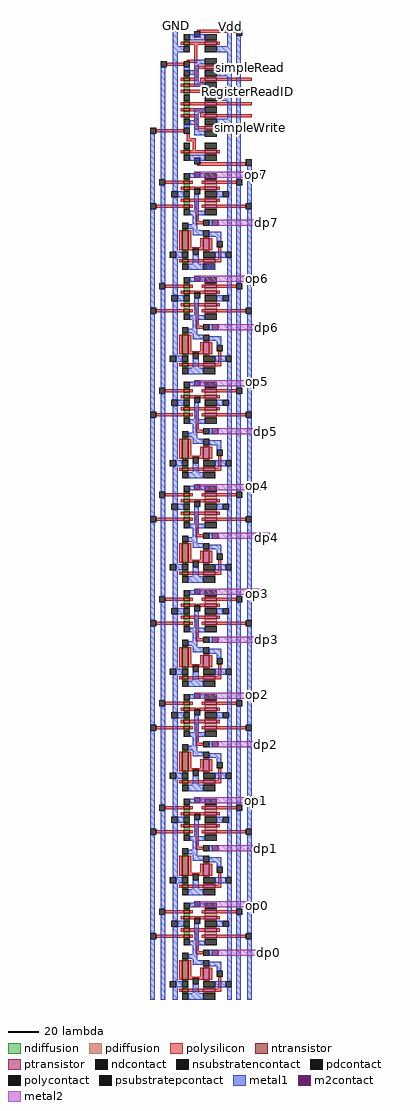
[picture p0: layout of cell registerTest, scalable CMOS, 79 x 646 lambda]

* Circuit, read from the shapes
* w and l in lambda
.subckt registerTest GND RegisterReadID RegisterWriteID Vdd dp0 dp1 dp2 dp3 dp4 dp5 dp6 dp7 op0 op1 op2 op3 op4 op5 op6 op7 phi0 phi1 simpleRead simpleWrite
M1 GND staticizer_6/in staticizer_6/inverter_0/out GND nfet w=4 l=2
M2 staticizer_6/in staticizer_6/inverter_0/out GND GND nfet w=4 l=13
M3 GND staticizer_5/in staticizer_5/inverter_0/out GND nfet w=4 l=2
M4 staticizer_5/in staticizer_5/inverter_0/out GND GND nfet w=4 l=13
M5 GND staticizer_4/in staticizer_4/inverter_0/out GND nfet w=4 l=2
M6 staticizer_4/in staticizer_4/inverter_0/out GND GND nfet w=4 l=13
M7 GND staticizer_3/in staticizer_3/inverter_0/out GND nfet w=4 l=2
M8 staticizer_3/in staticizer_3/inverter_0/out GND GND nfet w=4 l=13
M9 GND staticizer_2/in staticizer_2/inverter_0/out GND nfet w=4 l=2
M10 staticizer_2/in staticizer_2/inverter_0/out GND GND nfet w=4 l=13
M11 GND staticizer_1/in staticizer_1/inverter_0/out GND nfet w=4 l=2
M12 staticizer_1/in staticizer_1/inverter_0/out GND GND nfet w=4 l=13
M13 GND staticizer_0/in staticizer_0/inverter_0/out GND nfet w=4 l=2
M14 staticizer_0/in staticizer_0/inverter_0/out GND GND nfet w=4 l=13
M15 GND regbit_0_7/outlatch/in regbit_0_7/staticizer_0/inverter_0/out GND nfet w=4 l=2
M16 regbit_0_7/outlatch/in regbit_0_7/staticizer_0/inverter_0/out GND GND nfet w=4 l=13
M17 n1 regbit_0_0/w staticizer_6/in GND nfet w=4 l=2
M18 GND dp0 n1 GND nfet w=4 l=2
M19 n2 staticizer_6/in GND GND nfet w=4 l=2
M20 op0 regbit_0_0/r n2 GND nfet w=4 l=2
M21 n3 regbit_0_0/w staticizer_5/in GND nfet w=4 l=2
M22 GND dp1 n3 GND nfet w=4 l=2
M23 n4 staticizer_5/in GND GND nfet w=4 l=2
M24 op1 regbit_0_0/r n4 GND nfet w=4 l=2
M25 n5 regbit_0_0/w staticizer_4/in GND nfet w=4 l=2
M26 GND dp2 n5 GND nfet w=4 l=2
M27 n6 staticizer_4/in GND GND nfet w=4 l=2
M28 op2 regbit_0_0/r n6 GND nfet w=4 l=2
M29 n7 regbit_0_0/w staticizer_3/in GND nfet w=4 l=2
M30 GND dp3 n7 GND nfet w=4 l=2
M31 n8 staticizer_3/in GND GND nfet w=4 l=2
M32 op3 regbit_0_0/r n8 GND nfet w=4 l=2
M33 n9 regbit_0_0/w staticizer_2/in GND nfet w=4 l=2
M34 GND dp4 n9 GND nfet w=4 l=2
M35 n10 staticizer_2/in GND GND nfet w=4 l=2
M36 op4 regbit_0_0/r n10 GND nfet w=4 l=2
M37 n11 regbit_0_0/w staticizer_1/in GND nfet w=4 l=2
M38 GND dp5 n11 GND nfet w=4 l=2
M39 n12 staticizer_1/in GND GND nfet w=4 l=2
M40 op5 regbit_0_0/r n12 GND nfet w=4 l=2
M41 n13 regbit_0_0/w staticizer_0/in GND nfet w=4 l=2
M42 GND dp6 n13 GND nfet w=4 l=2
M43 n14 staticizer_0/in GND GND nfet w=4 l=2
M44 op6 regbit_0_0/r n14 GND nfet w=4 l=2
M45 n15 regbit_0_0/w regbit_0_7/outlatch/in GND nfet w=4 l=2
M46 GND dp7 n15 GND nfet w=4 l=2
M47 n16 regbit_0_7/outlatch/in GND GND nfet w=4 l=2
M48 op7 regbit_0_0/r n16 GND nfet w=4 l=2
M49 n17 regbit_0_0/w regbit_0_0/w_ GND nfet w=4 l=2
M50 n18 simpleWrite regbit_0_0/w GND nfet w=4 l=2
M51 n19 phi0 n18 GND nfet w=4 l=2
M52 n20 RegisterWriteID n19 GND nfet w=4 l=2
M53 n21 RegisterReadID n20 GND nfet w=4 l=2
M54 n22 phi1 n21 GND nfet w=4 l=2
M55 regbit_0_0/r simpleRead n22 GND nfet w=4 l=2
M56 regbit_0_0/r_ regbit_0_0/r GND GND nfet w=4 l=2
M57 Vdd staticizer_6/in staticizer_6/inverter_0/out Vdd pfet w=8 l=2
M58 staticizer_6/in staticizer_6/inverter_0/out Vdd Vdd pfet w=4 l=8
M59 Vdd staticizer_5/in staticizer_5/inverter_0/out Vdd pfet w=8 l=2
M60 staticizer_5/in staticizer_5/inverter_0/out Vdd Vdd pfet w=4 l=8
M61 Vdd staticizer_4/in staticizer_4/inverter_0/out Vdd pfet w=8 l=2
M62 staticizer_4/in staticizer_4/inverter_0/out Vdd Vdd pfet w=4 l=8
M63 Vdd staticizer_3/in staticizer_3/inverter_0/out Vdd pfet w=8 l=2
M64 staticizer_3/in staticizer_3/inverter_0/out Vdd Vdd pfet w=4 l=8
M65 Vdd staticizer_2/in staticizer_2/inverter_0/out Vdd pfet w=8 l=2
M66 staticizer_2/in staticizer_2/inverter_0/out Vdd Vdd pfet w=4 l=8
M67 Vdd staticizer_1/in staticizer_1/inverter_0/out Vdd pfet w=8 l=2
M68 staticizer_1/in staticizer_1/inverter_0/out Vdd Vdd pfet w=4 l=8
M69 Vdd staticizer_0/in staticizer_0/inverter_0/out Vdd pfet w=8 l=2
M70 staticizer_0/in staticizer_0/inverter_0/out Vdd Vdd pfet w=4 l=8
M71 Vdd regbit_0_7/outlatch/in regbit_0_7/staticizer_0/inverter_0/out Vdd pfet w=8 l=2
M72 regbit_0_7/outlatch/in regbit_0_7/staticizer_0/inverter_0/out Vdd Vdd pfet w=4 l=8
M73 n23 regbit_0_0/w_ staticizer_6/in Vdd pfet w=8 l=2
M74 Vdd dp0 n23 Vdd pfet w=8 l=2
M75 n24 staticizer_6/in Vdd Vdd pfet w=8 l=2
M76 op0 regbit_0_0/r_ n24 Vdd pfet w=8 l=2
M77 n25 regbit_0_0/w_ staticizer_5/in Vdd pfet w=8 l=2
M78 Vdd dp1 n25 Vdd pfet w=8 l=2
M79 n26 staticizer_5/in Vdd Vdd pfet w=8 l=2
M80 op1 regbit_0_0/r_ n26 Vdd pfet w=8 l=2
M81 n27 regbit_0_0/w_ staticizer_4/in Vdd pfet w=8 l=2
M82 Vdd dp2 n27 Vdd pfet w=8 l=2
M83 n28 staticizer_4/in Vdd Vdd pfet w=8 l=2
M84 op2 regbit_0_0/r_ n28 Vdd pfet w=8 l=2
M85 n29 regbit_0_0/w_ staticizer_3/in Vdd pfet w=8 l=2
M86 Vdd dp3 n29 Vdd pfet w=8 l=2
M87 n30 staticizer_3/in Vdd Vdd pfet w=8 l=2
M88 op3 regbit_0_0/r_ n30 Vdd pfet w=8 l=2
M89 n31 regbit_0_0/w_ staticizer_2/in Vdd pfet w=8 l=2
M90 Vdd dp4 n31 Vdd pfet w=8 l=2
M91 n32 staticizer_2/in Vdd Vdd pfet w=8 l=2
M92 op4 regbit_0_0/r_ n32 Vdd pfet w=8 l=2
M93 n33 regbit_0_0/w_ staticizer_1/in Vdd pfet w=8 l=2
M94 Vdd dp5 n33 Vdd pfet w=8 l=2
M95 n34 staticizer_1/in Vdd Vdd pfet w=8 l=2
M96 op5 regbit_0_0/r_ n34 Vdd pfet w=8 l=2
M97 n35 regbit_0_0/w_ staticizer_0/in Vdd pfet w=8 l=2
M98 Vdd dp6 n35 Vdd pfet w=8 l=2
M99 n36 staticizer_0/in Vdd Vdd pfet w=8 l=2
M100 op6 regbit_0_0/r_ n36 Vdd pfet w=8 l=2
M101 n37 regbit_0_0/w_ regbit_0_7/outlatch/in Vdd pfet w=8 l=2
M102 Vdd dp7 n37 Vdd pfet w=8 l=2
M103 n38 regbit_0_7/outlatch/in Vdd Vdd pfet w=8 l=2
M104 op7 regbit_0_0/r_ n38 Vdd pfet w=8 l=2
M105 n39 regbit_0_0/w regbit_0_0/w_ Vdd pfet w=8 l=2
M106 Vdd simpleWrite regbit_0_0/w Vdd pfet w=8 l=2
M107 regbit_0_0/w phi0 Vdd Vdd pfet w=8 l=2
M108 Vdd RegisterWriteID regbit_0_0/w Vdd pfet w=8 l=2
M109 regbit_0_0/r RegisterReadID Vdd Vdd pfet w=8 l=2
M110 Vdd phi1 regbit_0_0/r Vdd pfet w=8 l=2
M111 regbit_0_0/r simpleRead Vdd Vdd pfet w=8 l=2
M112 regbit_0_0/r_ regbit_0_0/r Vdd Vdd pfet w=8 l=2
.ends

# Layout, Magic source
magic
tech scmos
<< polysilicon >>
rect 38 614 59 616
rect 38 606 59 608
rect 38 598 59 600
rect 38 590 59 592
rect 38 582 59 584
rect 38 574 59 576
<< metal1 >>
rect 7 640 10 644
rect 43 640 46 643
rect -8 560 -5 563
rect -8 545 -5 550
rect -1 545 2 550
rect 7 545 10 550
rect 43 545 46 550
rect 49 545 52 550
rect 56 545 59 550
rect 29 481 35 485
rect -8 476 -5 481
rect -1 476 2 481
rect 7 476 10 481
rect 43 476 46 481
rect 49 476 52 481
rect 56 476 59 481
rect 43 441 46 445
rect 49 441 52 445
rect 56 441 59 445
rect -8 407 -5 412
rect -1 407 2 412
rect 7 407 10 412
rect 43 407 46 412
rect 49 407 52 412
rect 56 407 59 412
rect 43 372 46 376
rect 49 372 52 376
rect 56 372 59 376
rect -8 338 -5 343
rect -1 338 2 343
rect 7 338 10 343
rect 43 338 46 343
rect 49 338 52 343
rect 56 338 59 343
rect 43 303 46 307
rect 49 303 52 307
rect 56 303 59 307
rect -8 269 -5 274
rect -1 269 2 274
rect 7 269 10 274
rect 43 269 46 274
rect 49 269 52 274
rect 56 269 59 274
rect 43 234 46 238
rect 49 234 52 238
rect 56 234 59 238
rect -8 200 -5 205
rect -1 200 2 205
rect 7 200 10 205
rect 43 200 46 205
rect 49 200 52 205
rect 56 200 59 205
rect 43 165 46 169
rect 49 165 52 169
rect 56 165 59 169
rect -8 131 -5 136
rect -1 131 2 136
rect 7 131 10 136
rect 43 131 46 136
rect 49 131 52 136
rect 56 131 59 136
rect 43 96 46 100
rect 49 96 52 100
rect 56 96 59 100
rect -8 62 -5 67
rect -1 62 2 67
rect 7 62 10 67
rect 43 62 46 67
rect 49 62 52 67
rect 56 62 59 67
rect 43 27 46 31
rect 49 27 52 31
rect 56 27 59 31
<< metal2 >>
rect 25 542 65 546
rect 37 510 71 514
rect 25 473 65 477
rect 37 441 71 445
rect 25 404 65 408
rect 37 372 71 376
rect 25 335 65 339
rect 37 303 71 307
rect 25 266 65 270
rect 37 234 71 238
rect 25 197 65 201
rect 37 165 71 169
rect 25 128 65 132
rect 37 96 71 100
rect 25 59 65 63
rect 37 27 71 31
<< m2contact >>
rect 21 542 25 546
rect 21 473 25 477
rect 21 404 25 408
rect 21 335 25 339
rect 21 266 25 270
rect 21 197 25 201
rect 21 128 25 132
rect 21 59 25 63
use register_controller  register_controller_0
transform 1 0 14 0 1 593
box -22 -43 45 47
use staticizer  staticizer_0
transform 0 1 9 -1 0 424
box -19 2 12 32
use staticizer  staticizer_1
transform 0 1 9 -1 0 355
box -19 2 12 32
use staticizer  staticizer_2
transform 0 1 9 -1 0 286
box -19 2 12 32
use staticizer  staticizer_3
transform 0 1 9 -1 0 217
box -19 2 12 32
use staticizer  staticizer_4
transform 0 1 9 -1 0 148
box -19 2 12 32
use staticizer  staticizer_5
transform 0 1 9 -1 0 79
box -19 2 12 32
use staticizer  staticizer_6
transform 0 1 9 -1 0 10
box -19 2 12 32
use regbit  regbit_0
array 0 0 67 0 7 69
transform 1 0 15 0 1 27
box -23 -29 44 36
<< labels >>
rlabel metal1 9 643 9 643 5 GND
rlabel metal1 45 642 45 642 5 Vdd
rlabel polysilicon 58 615 58 615 7 simpleRead
rlabel polysilicon 58 575 58 575 7 simpleWrite
rlabel polysilicon 57 583 57 583 7 phi0
rlabel polysilicon 57 607 57 607 7 phi1
rlabel polysilicon 56 599 56 599 7 RegisterReadID
rlabel polysilicon 56 590 56 590 7 RegisterWriteID
rlabel metal2 70 29 70 29 7 dp0
rlabel metal2 68 98 68 98 7 dp1
rlabel metal2 68 167 68 167 7 dp2
rlabel metal2 69 236 69 236 7 dp3
rlabel metal2 69 304 69 304 7 dp4
rlabel metal2 68 374 68 374 7 dp5
rlabel metal2 69 443 69 443 7 dp6
rlabel metal2 69 512 69 512 7 dp7
rlabel metal2 63 60 63 60 1 op0
rlabel metal2 62 130 62 130 1 op1
rlabel metal2 63 200 63 200 1 op2
rlabel metal2 63 267 63 267 1 op3
rlabel metal2 63 338 63 338 1 op4
rlabel metal2 63 407 63 407 1 op5
rlabel metal2 63 475 63 475 1 op6
rlabel metal2 62 544 62 544 1 op7
<< end >>

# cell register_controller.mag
magic
tech scmos
<< polysilicon >>
rect 9 46 35 47
rect 11 45 35 46
rect 7 27 9 39
rect 2 26 9 27
rect -11 23 0 25
rect 4 25 9 26
rect 7 21 14 23
rect 22 21 24 23
rect 7 15 9 21
rect -2 13 0 15
rect 4 13 9 15
rect 11 13 14 15
rect 22 13 24 15
rect 11 11 13 13
rect -2 9 0 11
rect 4 9 13 11
rect -2 5 0 7
rect 4 5 14 7
rect 22 5 24 7
rect -2 -3 0 -1
rect 4 -3 14 -1
rect 22 -3 24 -1
rect -2 -7 0 -5
rect 4 -7 13 -5
rect 11 -9 13 -7
rect -2 -11 0 -9
rect 4 -11 9 -9
rect 11 -11 14 -9
rect 22 -11 24 -9
rect 7 -17 9 -11
rect -18 -21 0 -19
rect 7 -19 14 -17
rect 22 -19 24 -17
rect 2 -25 4 -22
rect 2 -27 8 -25
rect 6 -35 8 -27
rect 11 -42 41 -41
rect 9 -43 41 -42
<< ndiffusion >>
rect 0 15 4 16
rect 0 11 4 13
rect 0 7 4 9
rect 0 4 4 5
rect 0 -1 4 0
rect 0 -5 4 -3
rect 0 -9 4 -7
rect 0 -12 4 -11
<< pdiffusion >>
rect 14 23 22 24
rect 14 20 22 21
rect 14 15 22 16
rect 14 12 22 13
rect 14 7 22 8
rect 14 4 22 5
rect 14 -1 22 0
rect 14 -4 22 -3
rect 14 -9 22 -8
rect 14 -12 22 -11
rect 14 -17 22 -16
rect 14 -20 22 -19
<< metal1 >>
rect -7 36 -4 47
rect 29 36 32 47
rect -7 32 0 36
rect 22 32 32 36
rect -22 -43 -19 -22
rect -15 -43 -12 22
rect -7 -43 -4 32
rect 0 20 4 22
rect 7 24 14 27
rect 7 20 10 24
rect 29 20 32 32
rect 4 17 10 20
rect 7 12 10 17
rect 22 16 32 20
rect 7 9 14 12
rect 29 4 32 16
rect 22 0 32 4
rect 7 -8 14 -5
rect 7 -13 10 -8
rect 29 -12 32 0
rect 4 -16 10 -13
rect 22 -16 32 -12
rect 0 -18 4 -16
rect 7 -20 10 -16
rect 7 -23 14 -20
rect 29 -43 32 -16
rect 35 -43 38 43
<< ntransistor >>
rect 0 13 4 15
rect 0 9 4 11
rect 0 5 4 7
rect 0 -3 4 -1
rect 0 -7 4 -5
rect 0 -11 4 -9
<< ptransistor >>
rect 14 21 22 23
rect 14 13 22 15
rect 14 5 22 7
rect 14 -3 22 -1
rect 14 -11 22 -9
rect 14 -19 22 -17
<< polycontact >>
rect 7 42 11 46
rect 35 43 39 47
rect -15 22 -11 26
rect 0 22 4 26
rect -22 -22 -18 -18
rect 0 -22 4 -18
rect 7 -42 11 -38
rect 41 -43 45 -39
<< ndcontact >>
rect 0 16 4 20
rect 0 0 4 4
rect 0 -16 4 -12
<< pdcontact >>
rect 14 24 22 28
rect 14 16 22 20
rect 14 8 22 12
rect 14 0 22 4
rect 14 -8 22 -4
rect 14 -16 22 -12
rect 14 -24 22 -20
use inverter  inverter_0
transform 0 1 -7 1 0 37
box -5 5 7 31
use inverter  inverter_1
transform 0 1 -7 -1 0 -33
box -5 5 7 31
<< labels >>
rlabel metal1 -22 -24 -19 -22 3 w
rlabel metal1 35 -24 38 -22 1 r_
rlabel metal1 -7 -24 -4 -22 1 GND
rlabel metal1 29 -24 32 -22 1 Vdd
rlabel metal1 -15 -24 -12 -22 1 r
rlabel polycontact 42 -43 45 -40 8 w_
rlabel polysilicon 23 -18 23 -18 1 regw
rlabel polysilicon 23 -10 23 -10 1 phi0
rlabel polysilicon 23 -2 23 -2 1 wr_id
rlabel polysilicon 23 6 23 6 1 rd_id
rlabel polysilicon 23 14 23 14 1 phi1
rlabel polysilicon 23 22 23 22 1 regr
<< end >>

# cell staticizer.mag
magic
tech scmos
<< polysilicon >>
rect -3 28 7 30
rect -9 22 -1 24
rect -9 16 -1 18
rect -3 15 -1 16
rect -3 11 -2 15
rect -3 10 -1 11
rect -14 8 -1 10
rect -14 2 -1 4
<< ndiffusion >>
rect -15 4 -14 8
rect -1 4 0 8
<< pdiffusion >>
rect -10 18 -9 22
rect -1 18 0 22
<< metal1 >>
rect -13 27 -7 30
rect -13 22 -10 27
rect 0 26 4 32
rect -14 14 -11 18
rect -18 11 -11 14
rect 2 11 12 15
rect -18 8 -15 11
<< ntransistor >>
rect -14 4 -1 8
<< ptransistor >>
rect -9 18 -1 22
<< polycontact >>
rect -7 27 -3 31
rect -2 11 2 15
<< ndcontact >>
rect -19 4 -15 8
rect 0 4 4 8
<< pdcontact >>
rect -14 18 -10 22
rect 0 18 4 26
use inverter  inverter_0
transform 1 0 5 0 1 -3
box -5 5 7 31
<< labels >>
rlabel metal1 0 28 4 32 5 Vdd
rlabel ndcontact 0 4 4 8 1 GND
rlabel polycontact -7 27 -3 31 5 in
<< end >>

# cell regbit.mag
magic
tech scmos
<< polysilicon >>
rect -13 28 -3 30
rect 23 28 34 30
rect 7 25 9 26
rect -19 12 -3 14
rect 7 3 9 18
rect 23 12 40 14
rect 7 1 12 3
<< metal1 >>
rect -23 15 -20 35
rect -16 31 -13 35
rect -23 -29 -20 11
rect -16 -29 -13 27
rect -8 23 -5 35
rect 6 32 10 36
rect -5 19 -1 23
rect 28 23 31 35
rect -8 -17 -5 19
rect 6 10 9 21
rect 21 19 25 23
rect 29 19 31 23
rect 5 7 9 10
rect 5 1 8 7
rect 16 0 18 4
rect 28 -17 31 19
rect -6 -21 -2 -17
rect 26 -21 27 -17
rect -8 -29 -5 -21
rect 28 -29 31 -21
rect 34 31 37 35
rect 34 -29 37 27
rect 41 15 44 35
rect 41 -29 44 11
<< polycontact >>
rect -17 27 -13 31
rect 34 27 38 31
rect 6 21 10 25
rect -23 11 -19 15
rect 40 11 44 15
rect 12 0 16 4
<< m2contact >>
rect 18 0 22 4
<< psubstratepcontact >>
rect -9 19 -5 23
rect -10 -21 -6 -17
<< nsubstratencontact >>
rect 25 19 29 23
rect 27 -21 31 -17
use latch  outlatch
transform 0 1 -1 1 0 25
box -6 -2 10 24
use latch  inlatch
transform 0 1 -1 -1 0 17
box -6 -2 10 24
use staticizer  staticizer_0
transform 0 1 -6 -1 0 -17
box -19 2 12 32
<< labels >>
rlabel m2contact 18 0 22 4 1 in
rlabel metal1 6 32 10 36 5 out
rlabel metal1 -8 32 -5 35 5 GND
rlabel metal1 28 32 31 35 5 Vdd
rlabel metal1 34 32 37 35 5 r_
rlabel metal1 41 32 44 35 6 w_
rlabel metal1 -23 32 -20 35 4 w
rlabel metal1 -16 32 -13 35 5 r
<< end >>

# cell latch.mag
magic
tech scmos
<< polysilicon >>
rect -1 22 1 24
rect 3 22 5 24
rect -1 4 1 14
rect 3 12 5 14
rect 3 4 5 6
rect -1 -2 1 0
rect 3 -2 5 0
<< ndiffusion >>
rect -2 0 -1 4
rect 1 0 3 4
rect 5 0 6 4
<< pdiffusion >>
rect -2 14 -1 22
rect 1 14 3 22
rect 5 14 6 22
<< metal1 >>
rect 7 4 10 14
<< ntransistor >>
rect -1 0 1 4
rect 3 0 5 4
<< ptransistor >>
rect -1 14 1 22
rect 3 14 5 22
<< ndcontact >>
rect -6 0 -2 4
rect 6 0 10 4
<< pdcontact >>
rect -6 14 -2 22
rect 6 14 10 22
<< labels >>
rlabel polysilicon 3 22 5 24 5 latch_
rlabel polysilicon 3 -2 5 0 1 latch
rlabel pdcontact -6 14 -2 22 3 Vdd
rlabel ndcontact -6 0 -2 4 2 GND
rlabel polysilicon -1 8 1 10 1 in
rlabel metal1 7 8 10 10 7 out
<< end >>

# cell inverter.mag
magic
tech scmos
<< polysilicon >>
rect 0 29 2 31
rect 0 11 2 21
rect 0 5 2 7
<< ndiffusion >>
rect -1 7 0 11
rect 2 7 3 11
<< pdiffusion >>
rect -1 21 0 29
rect 2 21 3 29
<< metal1 >>
rect 3 11 7 21
<< ntransistor >>
rect 0 7 2 11
<< ptransistor >>
rect 0 21 2 29
<< ndcontact >>
rect -5 7 -1 11
rect 3 7 7 11
<< pdcontact >>
rect -5 21 -1 29
rect 3 21 7 29
<< labels >>
rlabel metal1 5 16 5 16 7 out
<< end >>
